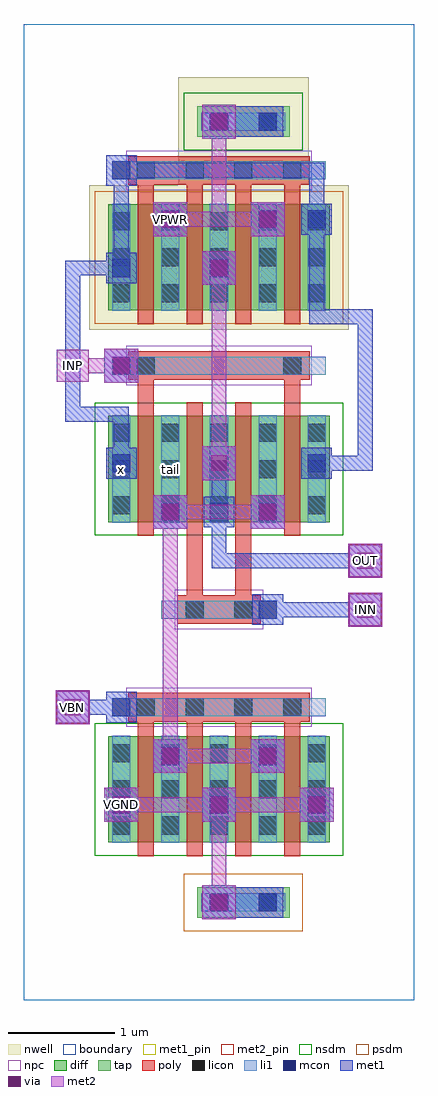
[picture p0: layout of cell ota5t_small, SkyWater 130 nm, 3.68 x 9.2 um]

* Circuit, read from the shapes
.subckt ota5t_small INN INP OUT VBN VGND VPWR tail x
XM1 tail VBN VGND VGND sky130_fd_pr__nfet_01v8 w=1 l=0.15 m=4
XM2 tail INP x VGND sky130_fd_pr__nfet_01v8 w=1 l=0.15 m=2
XM3 OUT INN tail VGND sky130_fd_pr__nfet_01v8 w=1 l=0.15 m=2
XM4 VPWR x x VPWR sky130_fd_pr__pfet_01v8 w=1 l=0.15 m=2
XM5 OUT x VPWR VPWR sky130_fd_pr__pfet_01v8 w=1 l=0.15 m=2
.ends

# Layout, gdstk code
import gdstk
lib = gdstk.Library(unit=1e-6, precision=1e-09)
def R(c, l, rs):  # rectangles x0, y0, x1, y1
    for r in rs: c.add(gdstk.rectangle(r[:2], r[2:], *l))
def A(c, l, x, y, w, h, nx, ny, dx, dy):  # array of equal rectangles
    R(c, l, [(x+i*dx, y+j*dy, x+i*dx+w, y+j*dy+h) for i in range(nx) for j in range(ny)])
nwell = (64, 20)
diff = (65, 20)
tap = (65, 44)
poly = (66, 20)
licon = (66, 44)
li1 = (67, 20)
mcon = (67, 44)
met1_pin = (68, 16)
met1 = (68, 20)
via = (68, 44)
met2_pin = (69, 16)
met2 = (69, 20)
nsdm = (93, 44)
psdm = (94, 20)
npc = (95, 20)
boundary = (235, 4)

ota5t_small = lib.new_cell('ota5t_small')
R(ota5t_small, nwell, [(0.615,6.32,3.065,7.68), (1.455,7.68,2.685,8.7)])
R(ota5t_small, diff, [(0.795,1.485,2.885,2.485), (0.795,4.505,2.885,5.505), (0.795,6.5,2.885,7.5)])
R(ota5t_small, tap, [(1.635,0.775,2.505,1.065), (1.635,8.135,2.505,8.425)])
A(ota5t_small, poly, 1.075, 1.355, 0.15, 1.405, 4, 1, 0.46, 0)
A(ota5t_small, poly, 1.075, 6.37, 0.15, 1.45, 4, 1, 0.46, 0)
R(ota5t_small, poly, [(0.985,2.625,2.695,2.895), (1.445,3.545,2.235,3.815), (1.535,3.68,1.685,5.635), (1.995,3.68,2.145,5.635), (1.075,4.375,1.225,5.98), (2.455,4.375,2.605,5.98), (0.985,5.845,2.695,6.115), (0.985,7.685,2.695,7.955)])
A(ota5t_small, licon, 0.835, 1.56, 0.17, 0.17, 5, 3, 0.46, 0.34)
A(ota5t_small, licon, 1.065, 2.675, 0.17, 0.17, 4, 2, 0.46, 5.06)
A(ota5t_small, licon, 0.835, 4.58, 0.17, 0.17, 5, 3, 0.46, 0.34)
A(ota5t_small, licon, 0.835, 6.575, 0.17, 0.17, 5, 3, 0.46, 0.34)
R(ota5t_small, licon, [(1.755,0.835,1.925,1.005), (2.215,0.835,2.385,1.005), (1.525,3.595,1.695,3.765), (1.985,3.595,2.155,3.765), (1.065,5.895,1.235,6.065), (2.445,5.895,2.615,6.065), (1.755,8.195,1.925,8.365), (2.215,8.195,2.385,8.365)])
A(ota5t_small, li1, 0.835, 1.48, 0.17, 1.01, 5, 2, 0.46, 3.02)
A(ota5t_small, li1, 0.835, 6.495, 0.17, 1.01, 5, 1, 0.46, 0)
R(ota5t_small, li1, [(1.675,0.835,2.465,1.005), (0.835,2.675,2.845,2.845), (1.295,3.595,2.385,3.765), (0.835,5.895,2.845,6.065), (0.835,7.735,2.845,7.905), (1.675,8.195,2.465,8.365)])
A(ota5t_small, mcon, 2.215, 0.835, 0.17, 0.17, 1, 3, 0, 1.38)
A(ota5t_small, mcon, 0.835, 1.755, 0.17, 0.17, 3, 1, 0.92, 0)
A(ota5t_small, mcon, 1.295, 4.515, 0.17, 0.17, 3, 1, 0.46, 0)
A(ota5t_small, mcon, 0.835, 4.975, 0.17, 0.17, 1, 4, 0, 0.92)
R(ota5t_small, mcon, [(1.755,0.835,1.925,1.005), (1.295,2.215,1.465,2.385), (0.835,2.675,1.005,2.845), (2.675,4.975,2.845,5.145), (1.755,6.815,1.925,6.985), (1.295,7.275,1.465,7.445), (2.215,7.275,2.385,7.445), (2.675,7.275,2.845,7.445), (1.755,8.195,1.925,8.365), (2.215,8.195,2.385,8.365)])
R(ota5t_small, met1_pin, [(0.775,1.695,1.065,1.985), (1.235,7.215,1.525,7.505)])
A(ota5t_small, met1, 0.76, 1.68, 0.32, 0.32, 3, 1, 0.92, 0)
A(ota5t_small, met1, 0.775, 1.695, 0.29, 0.29, 3, 1, 0.92, 0)
A(ota5t_small, met1, 1.235, 4.455, 0.29, 0.29, 3, 1, 0.46, 0)
A(ota5t_small, met1, 0.775, 4.915, 0.29, 0.29, 1, 4, 0, 0.92)
R(ota5t_small, met1, [(1.68,0.76,2,1.08), (1.695,0.775,2.445,1.065), (1.77,0.85,1.91,0.99), (1.22,2.14,1.54,2.46), (2.14,2.14,2.46,2.46), (1.235,2.155,1.525,2.445), (2.155,2.155,2.445,2.445), (0.3,2.6,0.62,2.92), (0.775,2.615,1.065,2.905), (0.39,2.69,0.99,2.83), (3.06,3.52,3.38,3.84), (2.155,3.535,2.445,3.825), (2.23,3.61,3.29,3.75), (3.06,3.98,3.38,4.3), (1.77,4.07,1.91,4.67), (1.77,4.07,3.29,4.21), (1.22,4.44,1.54,4.76), (2.14,4.44,2.46,4.76), (1.77,4.53,1.91,5.13), (1.68,4.9,2,5.22), (2.615,4.915,2.905,5.205), (0.85,4.99,0.99,5.59), (2.69,4.99,3.29,5.13), (3.15,4.99,3.29,6.51), (0.39,5.45,0.99,5.59), (0.39,5.45,0.53,6.97), (0.76,5.82,1.08,6.14), (2.69,6.37,3.29,6.51), (2.69,6.37,2.83,7.43), (1.68,6.74,2,7.06), (1.695,6.755,1.985,7.045), (0.39,6.83,0.99,6.97), (0.85,6.83,0.99,7.89), (1.22,7.2,1.54,7.52), (2.14,7.2,2.46,7.52), (1.235,7.215,1.525,7.505), (2.155,7.215,2.445,7.505), (2.615,7.215,2.905,7.505), (2.69,7.29,2.83,7.89), (0.85,7.75,2.83,7.89), (1.68,8.12,2,8.44), (1.695,8.135,2.445,8.425), (1.77,8.21,1.91,8.35)])
A(ota5t_small, via, 0.845, 1.765, 0.15, 0.15, 3, 1, 0.92, 0)
R(ota5t_small, via, [(1.765,0.845,1.915,0.995), (1.305,2.225,1.455,2.375), (2.225,2.225,2.375,2.375), (0.385,2.685,0.535,2.835), (3.145,3.605,3.295,3.755), (3.145,4.065,3.295,4.215), (1.305,4.525,1.455,4.675), (2.225,4.525,2.375,4.675), (1.765,4.985,1.915,5.135), (0.845,5.905,0.995,6.055), (1.765,6.825,1.915,6.975), (1.305,7.285,1.455,7.435), (2.225,7.285,2.375,7.435), (1.765,8.205,1.915,8.355)])
R(ota5t_small, met2_pin, [(0.31,2.61,0.61,2.91), (3.07,3.53,3.37,3.83), (3.07,3.99,3.37,4.29), (0.31,5.83,0.61,6.13)])
A(ota5t_small, met2, 0.76, 1.68, 0.32, 0.32, 3, 1, 0.92, 0)
R(ota5t_small, met2, [(1.68,0.76,2,1.08), (1.77,0.85,1.91,1.91), (0.85,1.77,1.91,1.91), (1.77,1.77,2.83,1.91), (1.22,2.14,1.54,2.46), (2.14,2.14,2.46,2.46), (1.31,2.23,2.37,2.37), (1.31,2.23,1.45,4.67), (0.3,2.6,0.62,2.92), (0.31,2.61,0.61,2.91), (0.39,2.69,0.53,2.83), (3.06,3.52,3.38,3.84), (3.07,3.53,3.37,3.83), (3.15,3.61,3.29,3.75), (3.06,3.98,3.38,4.3), (3.07,3.99,3.37,4.29), (3.15,4.07,3.29,4.21), (1.22,4.44,1.54,4.76), (2.14,4.44,2.46,4.76), (1.31,4.53,2.37,4.67), (1.68,4.9,2,5.22), (1.77,4.99,1.91,6.97), (0.76,5.82,1.08,6.14), (0.31,5.83,0.61,6.13), (0.39,5.91,0.53,6.05), (0.39,5.91,0.99,6.05), (1.68,6.74,2,7.06), (1.22,7.2,1.54,7.52), (2.14,7.2,2.46,7.52), (1.31,7.29,2.37,7.43), (1.77,7.29,1.91,8.35), (1.68,8.12,2,8.44)])
R(ota5t_small, nsdm, [(0.67,1.36,3.01,2.61), (0.67,4.38,3.01,5.63), (1.51,8.01,2.63,8.55)])
R(ota5t_small, psdm, [(1.51,0.65,2.63,1.19), (0.67,6.375,3.01,7.625)])
R(ota5t_small, npc, [(0.965,2.575,2.715,2.945), (1.425,3.495,2.255,3.865), (0.965,5.795,2.715,6.165), (0.965,7.635,2.715,8.005)])
R(ota5t_small, boundary, [(0,0,3.68,9.2)])
ota5t_small.add(gdstk.Label('x', (0.92,5.005), layer=67, texttype=5))
ota5t_small.add(gdstk.Label('tail', (1.38,5.005), layer=67, texttype=5))
ota5t_small.add(gdstk.Label('VPWR', (1.38,7.36), layer=68, texttype=5))
ota5t_small.add(gdstk.Label('VGND', (0.92,1.84), layer=68, texttype=5))
ota5t_small.add(gdstk.Label('INP', (0.46,5.98), layer=69, texttype=5))
ota5t_small.add(gdstk.Label('INN', (3.22,3.68), layer=69, texttype=5))
ota5t_small.add(gdstk.Label('VBN', (0.46,2.76), layer=69, texttype=5))
ota5t_small.add(gdstk.Label('OUT', (3.22,4.14), layer=69, texttype=5))
ota5t_small.add(gdstk.Label('VPWR', (1.38,7.36), layer=68, texttype=16))
ota5t_small.add(gdstk.Label('VGND', (0.92,1.84), layer=68, texttype=16))
ota5t_small.add(gdstk.Label('INP', (0.46,5.98), layer=69, texttype=16))
ota5t_small.add(gdstk.Label('INN', (3.22,3.68), layer=69, texttype=16))
ota5t_small.add(gdstk.Label('VBN', (0.46,2.76), layer=69, texttype=16))
ota5t_small.add(gdstk.Label('OUT', (3.22,4.14), layer=69, texttype=16))

lib.write_gds('ota5t_small.gds')
